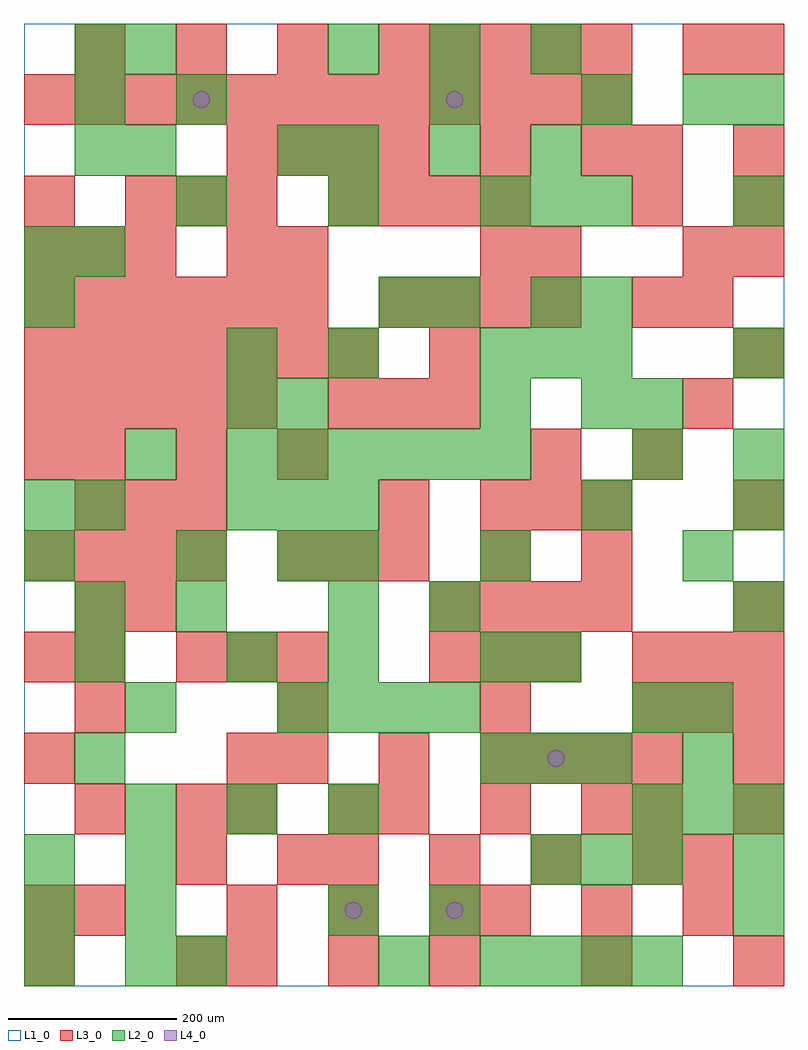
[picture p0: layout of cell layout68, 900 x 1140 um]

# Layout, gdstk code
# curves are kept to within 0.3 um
import gdstk
lib = gdstk.Library(unit=1e-6, precision=1e-09)
def R(c, l, rs):  # rectangles x0, y0, x1, y1
    for r in rs: c.add(gdstk.rectangle(r[:2], r[2:], *l))
def A(c, l, x, y, w, h, nx, ny, dx, dy):  # array of equal rectangles
    R(c, l, [(x+i*dx, y+j*dy, x+i*dx+w, y+j*dy+h) for i in range(nx) for j in range(ny)])
def P(c, l, *ps):  # polygons
    for p in ps: c.add(gdstk.Polygon(p, *l))
L1_0 = (1, 0)
L2_0 = (2, 0)
L3_0 = (3, 0)
L4_0 = (4, 0)

layout68 = lib.new_cell('layout68')
R(layout68, L1_0, [(0,0,900,1140)])
A(layout68, L2_0, 0, 0, 60, 60, 1, 3, 0, 60)
A(layout68, L2_0, 120, 0, 60, 60, 1, 3, 0, 60)
A(layout68, L2_0, 540, 0, 60, 60, 4, 1, 60, 0)
A(layout68, L2_0, 480, 60, 60, 60, 1, 3, 0, 360)
A(layout68, L2_0, 600, 120, 60, 60, 3, 1, 60, 0)
A(layout68, L2_0, 120, 180, 60, 60, 3, 1, 120, 0)
A(layout68, L2_0, 720, 180, 60, 60, 3, 1, 60, 0)
A(layout68, L2_0, 540, 240, 60, 60, 3, 2, 60, 480)
A(layout68, L2_0, 300, 300, 60, 60, 4, 1, 60, 0)
A(layout68, L2_0, 360, 360, 60, 60, 1, 3, 0, 60)
A(layout68, L2_0, 240, 540, 60, 60, 3, 1, 60, 0)
A(layout68, L2_0, 660, 540, 60, 60, 1, 5, 0, 120)
A(layout68, L2_0, 240, 600, 60, 60, 6, 1, 60, 0)
A(layout68, L2_0, 180, 900, 60, 60, 3, 1, 180, 0)
A(layout68, L2_0, 60, 960, 60, 60, 1, 3, 0, 60)
A(layout68, L2_0, 360, 960, 60, 60, 3, 2, 120, 120)
R(layout68, L2_0, [(180,0,240,60), (420,0,480,60), (360,60,420,120), (840,60,900,120), (840,120,900,180), (60,240,120,300), (780,240,840,300), (120,300,180,360), (720,300,780,360), (780,300,840,360), (60,360,120,420), (240,360,300,420), (540,360,600,420), (600,360,660,420), (60,420,120,480), (180,420,240,480), (840,420,900,480), (0,480,60,540), (180,480,240,540), (300,480,360,540), (540,480,600,540), (780,480,840,540), (0,540,60,600), (60,540,120,600), (840,540,900,600), (120,600,180,660), (720,600,780,660), (840,600,900,660), (240,660,300,720), (300,660,360,720), (540,660,600,720), (720,660,780,720), (240,720,300,780), (360,720,420,780), (840,720,900,780), (0,780,60,840), (420,780,480,840), (600,780,660,840), (0,840,60,900), (60,840,120,900), (600,900,660,960), (840,900,900,960), (120,960,180,1020), (300,960,360,1020), (180,1020,240,1080), (480,1020,540,1080), (780,1020,840,1080), (840,1020,900,1080), (120,1080,180,1140)])
A(layout68, L3_0, 240, 0, 60, 60, 3, 2, 120, 60)
A(layout68, L3_0, 660, 0, 60, 60, 1, 3, 0, 480)
A(layout68, L3_0, 540, 60, 60, 60, 3, 1, 120, 0)
A(layout68, L3_0, 360, 120, 60, 60, 4, 1, 120, 0)
A(layout68, L3_0, 420, 180, 60, 60, 3, 1, 120, 0)
A(layout68, L3_0, 300, 240, 60, 60, 3, 1, 120, 0)
A(layout68, L3_0, 600, 240, 60, 60, 3, 1, 60, 0)
A(layout68, L3_0, 60, 300, 60, 60, 3, 1, 240, 0)
A(layout68, L3_0, 720, 300, 60, 60, 3, 2, 60, 60)
A(layout68, L3_0, 180, 360, 60, 60, 3, 1, 60, 0)
A(layout68, L3_0, 480, 360, 60, 60, 3, 1, 60, 0)
A(layout68, L3_0, 480, 420, 60, 60, 4, 2, 60, 660)
A(layout68, L3_0, 0, 480, 60, 60, 4, 1, 60, 0)
A(layout68, L3_0, 300, 480, 60, 60, 3, 1, 60, 0)
A(layout68, L3_0, 60, 540, 60, 60, 3, 1, 60, 0)
A(layout68, L3_0, 540, 540, 60, 60, 3, 1, 60, 0)
A(layout68, L3_0, 60, 600, 60, 60, 3, 1, 120, 0)
A(layout68, L3_0, 0, 660, 60, 60, 5, 1, 60, 0)
A(layout68, L3_0, 360, 660, 60, 60, 3, 1, 60, 0)
A(layout68, L3_0, 0, 720, 60, 60, 7, 1, 60, 0)
A(layout68, L3_0, 0, 780, 60, 60, 6, 1, 60, 0)
A(layout68, L3_0, 420, 780, 60, 60, 4, 1, 60, 0)
A(layout68, L3_0, 0, 840, 60, 60, 3, 1, 60, 0)
A(layout68, L3_0, 840, 840, 60, 60, 1, 3, 0, 60)
A(layout68, L3_0, 120, 900, 60, 60, 3, 1, 60, 0)
A(layout68, L3_0, 360, 900, 60, 60, 4, 1, 60, 0)
A(layout68, L3_0, 240, 960, 60, 60, 4, 1, 60, 0)
A(layout68, L3_0, 0, 1020, 60, 60, 12, 1, 60, 0)
A(layout68, L3_0, 60, 1080, 60, 60, 4, 1, 120, 0)
R(layout68, L3_0, [(0,0,60,60), (180,0,240,60), (840,0,900,60), (0,60,60,120), (60,60,120,120), (180,120,240,180), (300,120,360,180), (780,120,840,180), (60,180,120,240), (180,180,240,240), (240,180,300,240), (360,180,420,240), (720,180,780,240), (840,180,900,240), (0,240,60,300), (240,240,300,300), (840,240,900,300), (0,360,60,420), (60,360,120,420), (60,420,120,480), (120,420,180,480), (840,420,900,480), (540,480,600,540), (420,540,480,600), (840,540,900,600), (0,600,60,660), (600,600,660,660), (720,600,780,660), (780,660,840,720), (480,720,540,780), (840,720,900,780), (720,780,780,840), (780,780,840,840), (240,840,300,900), (300,840,360,900), (540,840,600,900), (600,840,660,900), (780,840,840,900), (0,900,60,960), (720,900,780,960), (540,960,600,1020), (720,960,780,1020), (780,1080,840,1140), (840,1080,900,1140)])
P(layout68, L4_0, [(220,1050),(219.239,1053.827),(217.071,1057.071),(213.827,1059.239),(210,1060),(206.173,1059.239),(202.929,1057.071),(200.761,1053.827),(200,1050),(200.761,1046.173),(202.929,1042.929),(206.173,1040.761),(210,1040),(213.827,1040.761),(217.071,1042.929),(219.239,1046.173)],
  [(400,90),(399.239,93.827),(397.071,97.071),(393.827,99.239),(390,100),(386.173,99.239),(382.929,97.071),(380.761,93.827),(380,90),(380.761,86.173),(382.929,82.929),(386.173,80.761),(390,80),(393.827,80.761),(397.071,82.929),(399.239,86.173)],
  [(520,90),(519.239,93.827),(517.071,97.071),(513.827,99.239),(510,100),(506.173,99.239),(502.929,97.071),(500.761,93.827),(500,90),(500.761,86.173),(502.929,82.929),(506.173,80.761),(510,80),(513.827,80.761),(517.071,82.929),(519.239,86.173)],
  [(520,1050),(519.239,1053.827),(517.071,1057.071),(513.827,1059.239),(510,1060),(506.173,1059.239),(502.929,1057.071),(500.761,1053.827),(500,1050),(500.761,1046.173),(502.929,1042.929),(506.173,1040.761),(510,1040),(513.827,1040.761),(517.071,1042.929),(519.239,1046.173)],
  [(640,270),(639.239,273.827),(637.071,277.071),(633.827,279.239),(630,280),(626.173,279.239),(622.929,277.071),(620.761,273.827),(620,270),(620.761,266.173),(622.929,262.929),(626.173,260.761),(630,260),(633.827,260.761),(637.071,262.929),(639.239,266.173)])

lib.write_gds('layout68.gds')
